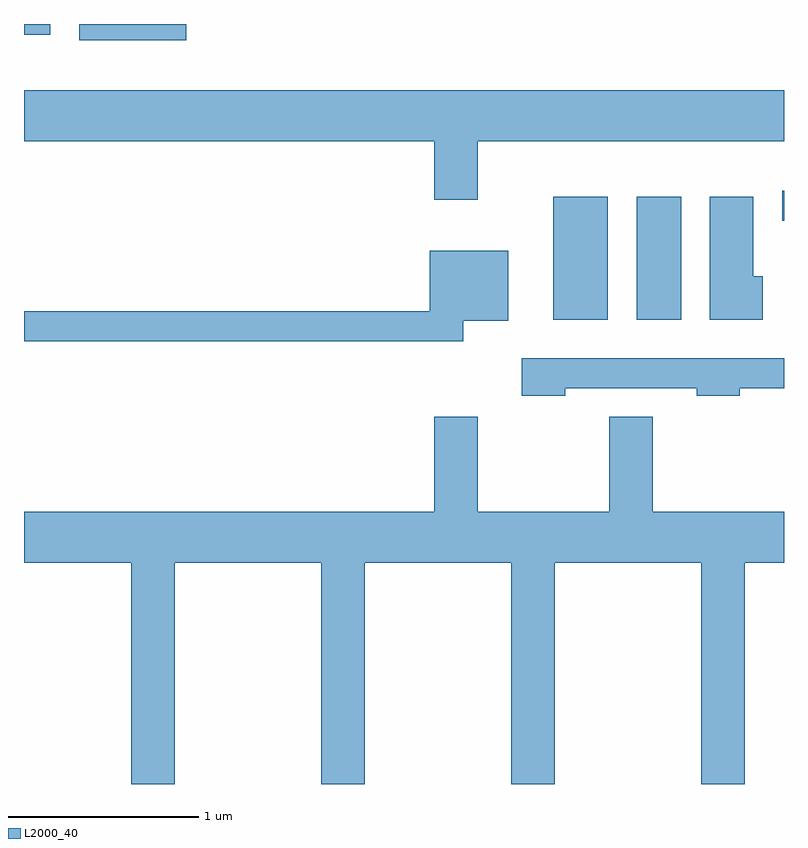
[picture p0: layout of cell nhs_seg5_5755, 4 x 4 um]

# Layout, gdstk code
import gdstk
lib = gdstk.Library(unit=1e-6, precision=1e-09)
def R(c, l, rs):  # rectangles x0, y0, x1, y1
    for r in rs: c.add(gdstk.rectangle(r[:2], r[2:], *l))
def P(c, l, *ps):  # polygons
    for p in ps: c.add(gdstk.Polygon(p, *l))
L2000_40 = (2000, 40)

nhs_seg5_5755 = lib.new_cell('nhs_seg5_5755')
R(nhs_seg5_5755, L2000_40, [(358.396,1462.516,358.684,1463.164), (358.836,1462.516,359.069,1463.164), (359.603,1463.036,359.611,1463.194), (355.903,1463.986,356.464,1464.072), (355.611,1464.016,355.749,1464.072)])
P(nhs_seg5_5755, L2000_40, [(357.999,1463.456),(359.611,1463.456),(359.611,1463.724),(355.611,1463.724),(355.611,1463.456),(357.771,1463.456),(357.771,1463.146),(357.999,1463.146)],
  [(359.499,1462.744),(359.449,1462.744),(359.449,1463.164),(359.221,1463.164),(359.221,1462.516),(359.499,1462.516)],
  [(357.924,1462.511),(358.159,1462.511),(358.159,1462.879),(357.746,1462.879),(357.746,1462.559),(355.611,1462.559),(355.611,1462.401),(357.924,1462.401)],
  [(358.459,1462.156),(359.151,1462.156),(359.151,1462.116),(359.379,1462.116),(359.379,1462.156),(359.611,1462.156),(359.611,1462.314),(358.231,1462.314),(358.231,1462.116),(358.459,1462.116)],
  [(358.176,1460.072),(358.404,1460.072),(358.404,1461.236),(359.176,1461.236),(359.176,1460.072),(359.404,1460.072),(359.404,1461.236),(359.611,1461.236),(359.611,1461.504),(358.919,1461.504),(358.919,1462.004),(358.691,1462.004),(358.691,1461.504),(357.999,1461.504),(357.999,1462.004),(357.771,1462.004),(357.771,1461.504),(355.611,1461.504),(355.611,1461.236),(356.176,1461.236),(356.176,1460.072),(356.404,1460.072),(356.404,1461.236),(357.176,1461.236),(357.176,1460.072),(357.404,1460.072),(357.404,1461.236),(358.176,1461.236)])

lib.write_gds('nhs_seg5_5755.gds')
